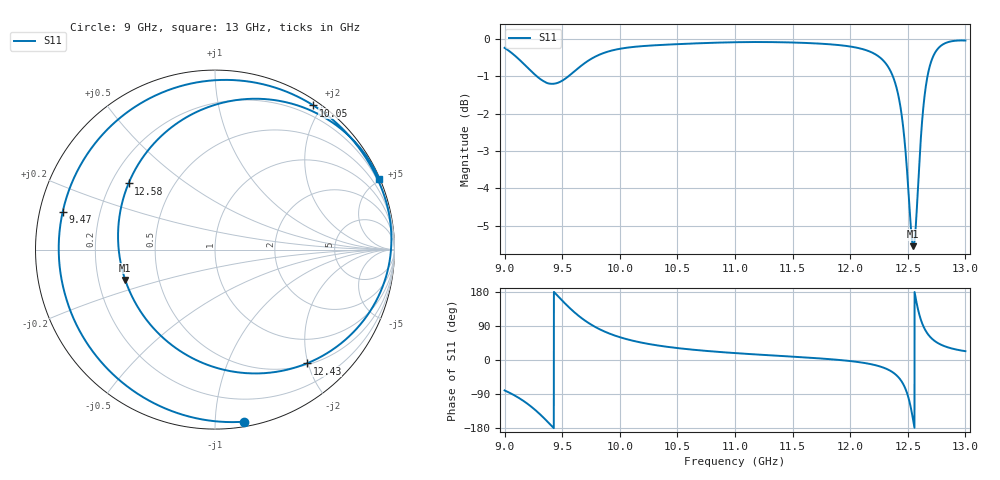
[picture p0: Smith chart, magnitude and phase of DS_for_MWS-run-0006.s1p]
! TOUCHSTONE file generated by CST DESIGN STUDIO
! Date and time: Tue Feb  4 15:51:11 2025
! Project name: C:\Work\MatlabApps\UnitCellOptimizationMatlab\CST\unitcell.cst
! Tree item: Tasks\Sweep1\SPara1\S-Parameters
! Header version: 2024
! Port assignment regex: !\s*Touchstone port\s*([0-9]+)\s*=\s*(CST MWS port|CST DES external port|CST DES block port)\s*(.+)\s* \(\"(.*)\"\)(\s*mode\s*([0-9]+))?.*
! Touchstone port assignment:
! Touchstone port 1 = CST DES external port 1 ("")
# GHz S MA R 50
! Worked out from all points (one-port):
!   4001 points, 9 GHz to 13 GHz, reference 50 ohm
!   lowest |S11| = -5.5 dB at 12.55 GHz (marker M1), VSWR 3.24, Z = 15.8 - j7.45 ohm
!   |S11| at or under -10 dB: nowhere
!   S11 on the Smith chart (normalised r, x): 9 GHz: 0.03, -1.19; 9.47 GHz: 0.07, +0.12; 10.05 GHz: 0.06, +1.89; 12.43 GHz: 0.52, -1.98; 12.58 GHz: 0.27, +0.32; 13 GHz: 0.06, +4.85
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9  0.9726 -80.3
9.131  0.9369 -101.5
9.239  0.9026 -125.1
9.366  0.873 -160.7
9.47  0.8743 166.2
9.5  0.879 156.8
9.602  0.9036 127.0
9.703  0.9297 102.9
9.849  0.9559 77.6
10  0.9697 60.2
10.051  0.9725 55.7
10.5  0.9837 31.5
11  0.9895 18.2
11.5  0.9887 8.8
12  0.9766 -2.8
12.299  0.931 -21.3
12.377  0.8854 -34.1
12.434  0.8148 -51.1
12.5  0.6442 -93.5
12.524  0.5664 -122.4
12.548  0.528 -161.3
12.582  0.6066 142.6
12.61  0.7234 109.5
12.639  0.8215 86.6
12.684  0.9106 64.5
12.734  0.9566 50.1
12.836  0.9883 34.6
13  0.9947 23.3
